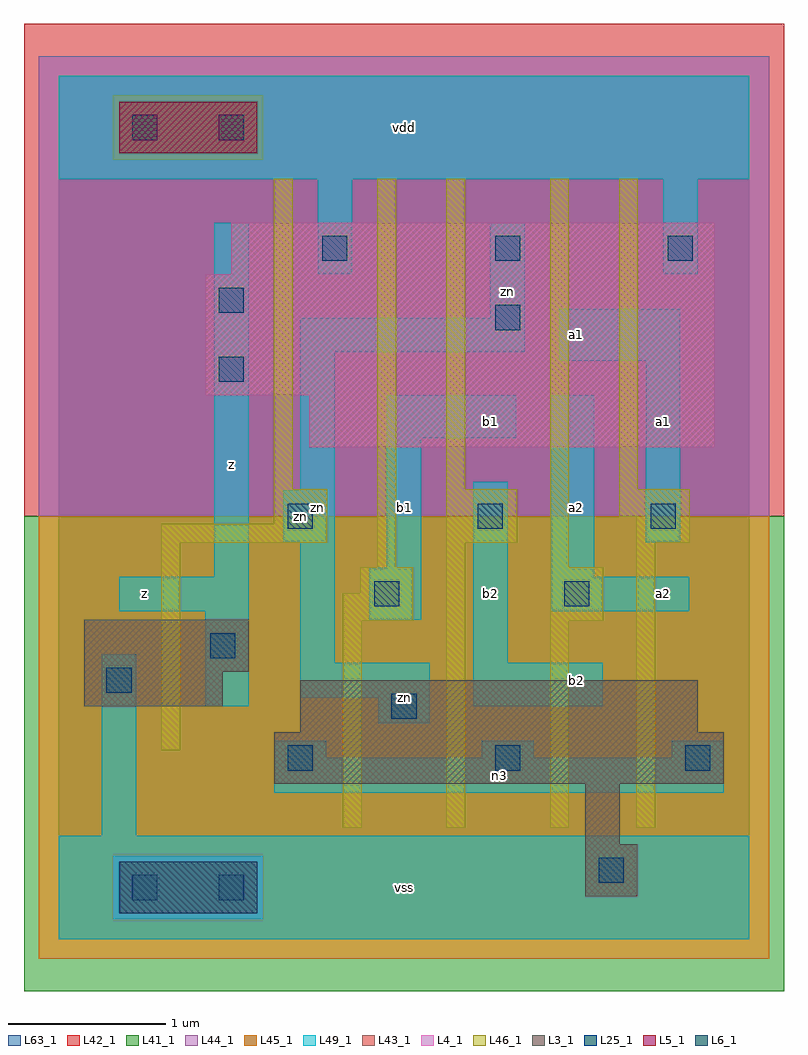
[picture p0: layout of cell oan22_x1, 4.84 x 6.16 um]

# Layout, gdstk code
import gdstk
lib = gdstk.Library(unit=1e-6, precision=1e-09)
def R(c, l, rs):  # rectangles x0, y0, x1, y1
    for r in rs: c.add(gdstk.rectangle(r[:2], r[2:], *l))
def A(c, l, x, y, w, h, nx, ny, dx, dy):  # array of equal rectangles
    R(c, l, [(x+i*dx, y+j*dy, x+i*dx+w, y+j*dy+h) for i in range(nx) for j in range(ny)])
L3_1 = (3, 1)
L4_1 = (4, 1)
L5_1 = (5, 1)
L6_1 = (6, 1)
L25_1 = (25, 1)
L41_1 = (41, 1)
L42_1 = (42, 1)
L43_1 = (43, 1)
L44_1 = (44, 1)
L45_1 = (45, 1)
L46_1 = (46, 1)
L49_1 = (49, 1)
L63_1 = (63, 1)

oan22_x1 = lib.new_cell('oan22_x1')
R(oan22_x1, L3_1, [(3.355,0.275,3.685,0.605), (3.355,0.605,3.575,0.99), (1.375,0.99,4.235,1.32), (1.54,1.32,4.07,1.65), (0.165,1.485,1.045,1.705), (0.165,1.705,1.21,2.035)])
R(oan22_x1, L4_1, [(1.595,3.135,4.18,3.465), (0.935,3.465,4.18,4.235), (1.1,4.235,4.18,4.565)])
R(oan22_x1, L5_1, [(0.385,5.005,1.265,5.335)])
R(oan22_x1, L6_1, [(0.385,0.165,1.265,0.495)])
A(oan22_x1, L25_1, 1.68, 4.32, 0.16, 0.16, 3, 1, 1.1, 0)
R(oan22_x1, L25_1, [(0.47,0.25,0.63,0.41), (1.02,0.25,1.18,0.41), (3.44,0.36,3.6,0.52), (1.46,1.075,1.62,1.235), (2.78,1.075,2.94,1.235), (3.99,1.075,4.15,1.235), (2.12,1.405,2.28,1.565), (0.305,1.57,0.465,1.73), (0.965,1.79,1.125,1.95), (2.01,2.12,2.17,2.28), (3.22,2.12,3.38,2.28), (1.46,2.615,1.62,2.775), (2.67,2.615,2.83,2.775), (3.77,2.615,3.93,2.775), (1.02,3.55,1.18,3.71), (2.78,3.88,2.94,4.04), (1.02,3.99,1.18,4.15), (0.47,5.09,0.63,5.25), (1.02,5.09,1.18,5.25)])
R(oan22_x1, L41_1, [(-0.22,-0.33,4.62,2.695)])
R(oan22_x1, L42_1, [(-0.22,2.695,4.62,5.83)])
R(oan22_x1, L43_1, [(0.385,0.165,1.265,0.495), (3.355,0.275,3.685,0.605), (3.355,0.605,3.575,0.99), (1.375,0.99,4.235,1.32), (1.54,1.32,4.07,1.65), (0.165,1.485,1.045,1.705), (0.165,1.705,1.21,2.035), (1.595,3.135,4.18,3.465), (0.935,3.465,4.18,4.235), (1.1,4.235,4.18,4.565), (0.385,5.005,1.265,5.335)])
R(oan22_x1, L44_1, [(0.345,0.125,1.305,0.535), (-0.125,2.695,4.525,4.965), (-0.125,4.965,0.345,5.375), (1.305,4.965,4.525,5.375), (-0.125,5.375,4.525,5.625)])
R(oan22_x1, L45_1, [(-0.125,-0.125,4.525,0.125), (-0.125,0.125,0.345,0.535), (1.305,0.125,4.525,0.535), (-0.125,0.535,4.525,2.695), (0.345,4.965,1.305,5.375)])
A(oan22_x1, L46_1, 1.37, 2.865, 0.12, 1.98, 3, 1, 1.1, 0)
R(oan22_x1, L46_1, [(1.81,0.71,1.93,2.03), (2.47,0.71,2.59,2.525), (3.13,0.71,3.25,2.03), (3.68,0.71,3.8,2.525), (0.655,1.205,0.775,2.525), (1.81,2.03,2.26,2.205), (3.13,2.03,3.47,2.37), (1.92,2.205,2.26,2.37), (2.03,2.37,2.15,4.845), (3.13,2.37,3.25,4.845), (0.655,2.525,1.71,2.645), (2.47,2.525,2.92,2.865), (3.68,2.525,4.02,2.69), (1.37,2.645,1.71,2.865), (3.57,2.69,4.02,2.865)])
R(oan22_x1, L49_1, [(0,0,4.4,0.66), (0.275,0.66,0.495,1.815), (1.375,0.935,4.235,1.155), (1.375,1.155,1.705,1.265), (2.695,1.155,3.025,1.265), (3.905,1.155,4.235,1.265), (2.035,1.375,2.365,1.54), (0.935,1.485,1.21,2.09), (2.64,1.485,3.465,1.76), (1.54,1.54,2.365,1.76), (1.54,1.76,1.76,2.53), (2.64,1.76,2.86,2.915), (1.98,2.035,2.31,2.365), (0.385,2.09,1.21,2.31), (3.135,2.09,4.015,2.31), (0.99,2.31,1.21,4.565), (3.135,2.31,3.41,3.465), (2.09,2.365,2.31,3.19), (1.43,2.53,1.76,2.86), (3.74,2.53,3.96,3.685), (1.54,2.86,1.76,3.74), (2.09,3.19,2.915,3.465), (3.19,3.685,3.96,4.015), (1.54,3.74,2.97,3.96), (2.75,3.96,2.97,4.565), (1.65,4.235,1.87,4.84), (3.85,4.235,4.07,4.84), (0,4.84,4.4,5.5)])
R(oan22_x1, L63_1, [(0,0,4.4,5.5)])
oan22_x1.add(gdstk.Label('zn', (1.54,2.695), layer=49, texttype=1))
oan22_x1.add(gdstk.Label('z', (0.55,2.2), layer=49, texttype=1))
oan22_x1.add(gdstk.Label('z', (0.55,2.2), layer=49, texttype=1))
oan22_x1.add(gdstk.Label('z', (1.1,3.025), layer=49, texttype=1))
oan22_x1.add(gdstk.Label('z', (1.1,3.025), layer=49, texttype=1))
oan22_x1.add(gdstk.Label('vss', (2.2,0.33), layer=49, texttype=1))
oan22_x1.add(gdstk.Label('vss', (2.2,0.33), layer=49, texttype=1))
oan22_x1.add(gdstk.Label('zn', (2.2,1.54), layer=49, texttype=1))
oan22_x1.add(gdstk.Label('b1', (2.2,2.75), layer=49, texttype=1))
oan22_x1.add(gdstk.Label('b1', (2.2,2.75), layer=49, texttype=1))
oan22_x1.add(gdstk.Label('zn', (1.65,2.75), layer=49, texttype=1))
oan22_x1.add(gdstk.Label('vdd', (2.2,5.17), layer=49, texttype=1))
oan22_x1.add(gdstk.Label('vdd', (2.2,5.17), layer=49, texttype=1))
oan22_x1.add(gdstk.Label('b2', (3.3,1.65), layer=49, texttype=1))
oan22_x1.add(gdstk.Label('b2', (3.3,1.65), layer=49, texttype=1))
oan22_x1.add(gdstk.Label('b2', (2.75,2.2), layer=49, texttype=1))
oan22_x1.add(gdstk.Label('b2', (2.75,2.2), layer=49, texttype=1))
oan22_x1.add(gdstk.Label('a2', (3.3,2.75), layer=49, texttype=1))
oan22_x1.add(gdstk.Label('a2', (3.3,2.75), layer=49, texttype=1))
oan22_x1.add(gdstk.Label('b1', (2.75,3.3), layer=49, texttype=1))
oan22_x1.add(gdstk.Label('b1', (2.75,3.3), layer=49, texttype=1))
oan22_x1.add(gdstk.Label('a1', (3.3,3.85), layer=49, texttype=1))
oan22_x1.add(gdstk.Label('a1', (3.3,3.85), layer=49, texttype=1))
oan22_x1.add(gdstk.Label('zn', (2.86,4.125), layer=49, texttype=1))
oan22_x1.add(gdstk.Label('n3', (2.805,1.045), layer=49, texttype=1))
oan22_x1.add(gdstk.Label('a2', (3.85,2.2), layer=49, texttype=1))
oan22_x1.add(gdstk.Label('a2', (3.85,2.2), layer=49, texttype=1))
oan22_x1.add(gdstk.Label('a1', (3.85,3.3), layer=49, texttype=1))
oan22_x1.add(gdstk.Label('a1', (3.85,3.3), layer=49, texttype=1))

lib.write_gds('oan22_x1.gds')
